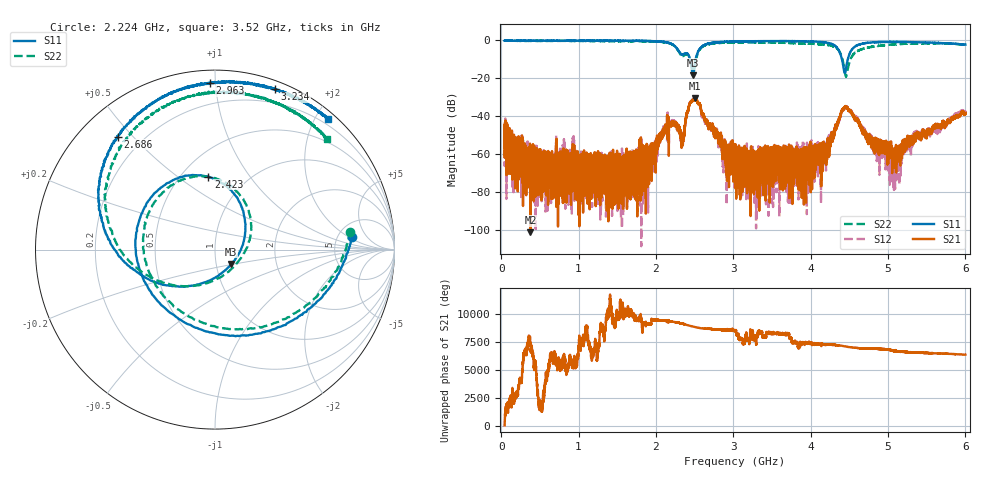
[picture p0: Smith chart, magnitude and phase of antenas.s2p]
!Agilent Technologies,E8364A,US41440144,A.06.04.32
!Agilent E8364A: A.06.04.32
!Date: Thursday, November 08, 2018 14:29:41
!Correction: S11(Full 2 Port(1,2)) S21(Full 2 Port(1,2)) S12(Full 2 Port(1,2)) S22(Full 2 Port(1,2))
!S2P File: Measurements: S11, S21, S12, S22:
# Hz S  dB  R 50
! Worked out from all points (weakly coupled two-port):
!   16001 points, 45 MHz to 6 GHz, reference 50 ohm
!   highest |S21| = -30.41 dB at 2.506 GHz (marker M1); lowest = -101.3 dB at 378.5 MHz (marker M2)
!   lowest |S11| = -18.3 dB at 2.479 GHz (marker M3), VSWR 1.28, Z = 59.1 - j9.67 ohm
!   |S11| at or under -10 dB: 2.442 GHz to 2.513 GHz (70.95 MHz wide, 2.86 % of centre); 4.405 GHz to 4.48 GHz (75.28 MHz wide, 1.69 % of centre)
!   |S22| runs from -19.1 to 0.0 dB; largest |S21 - S12| = 0.013
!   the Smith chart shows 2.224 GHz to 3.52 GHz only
!   S11 on the Smith chart (normalised r, x): 2.224 GHz: 6.73, +2.39; 2.423 GHz: 0.67, +0.65; 2.686 GHz: 0.11, +0.45; 2.963 GHz: 0.07, +0.97; 3.234 GHz: 0.07, +1.44; 3.52 GHz: 0.11, +2.20
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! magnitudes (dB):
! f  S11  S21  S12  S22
! 45 MHz  -0.1  -61.3  -57.0  -0.1
! 378.5 MHz  -0.2  -101.3  -67.0  -0.3
! 1.038 GHz  -0.2  -66.3  -61.1  -0.2
! 1.718 GHz  -0.2  -62.4  -65.6  -0.4
! 2.03 GHz  -0.5  -53.1  -52.4  -0.7
! 2.224 GHz  -2.3  -43.8  -43.2  -2.4
! 2.341 GHz  -7.3  -52.1  -51.8  -8.2
! 2.423 GHz  -7.8  -35.5  -35.7  -7.9
! 2.479 GHz  -18.3  -31.4  -31.1  -16.5
! 2.506 GHz  -11.5  -30.4  -30.0  -12.7
! 2.686 GHz  -1.6  -45.6  -45.8  -1.9
! 2.963 GHz  -0.6  -62.5  -59.1  -1.1
! 3.022 GHz  -0.6  -56.4  -57.3  -1.1
! 3.234 GHz  -0.4  -67.2  -66.8  -1.1
! 3.52 GHz  -0.3  -66.8  -60.8  -1.1
! 4.015 GHz  -0.5  -61.4  -61.8  -1.8
! 4.333 GHz  -3.5  -45.3  -44.6  -3.9
! 4.453 GHz  -15.7  -34.9  -34.8  -18.8
! 4.586 GHz  -2.9  -41.4  -40.6  -6.1
! 5.008 GHz  -0.8  -58.3  -58.5  -2.3
! 5.081 GHz  -0.8  -59.2  -63.7  -2.1
! 6 GHz  -2.2  -38.2  -37.5  -2.2
